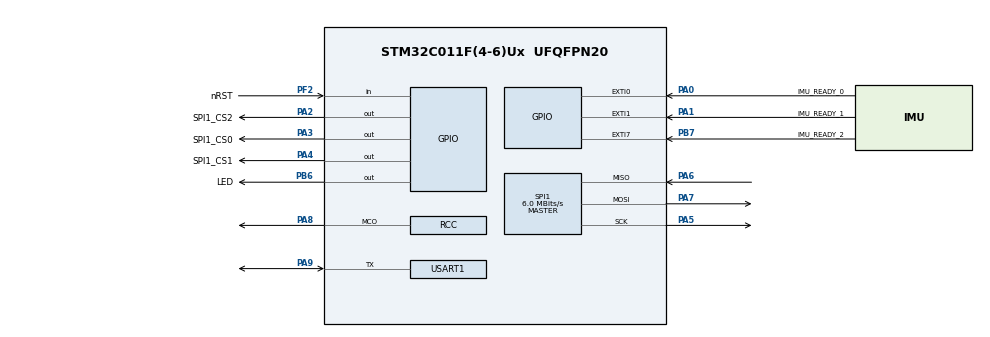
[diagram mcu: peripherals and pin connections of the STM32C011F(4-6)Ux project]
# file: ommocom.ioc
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Mcu.Family=STM32C0
Mcu.Name=STM32C011F(4-6)Ux
Mcu.Package=UFQFPN20
NVIC.EXTI0_1_IRQn=true\:0\:0\:false\:false\:true\:true\:true\:true
NVIC.EXTI4_15_IRQn=true\:0\:0\:false\:false\:true\:true\:true\:true
NVIC.SPI1_IRQn=true\:0\:0\:false\:false\:true\:true\:true\:true
NVIC.TIM17_IRQn=true\:0\:0\:false\:false\:true\:true\:true\:true
NVIC.TIM1_BRK_UP_TRG_COM_IRQn=true\:0\:0\:false\:false\:true\:true\:true\:true
NVIC.USART1_IRQn=true\:0\:0\:false\:false\:true\:true\:true\:true
PA0.GPIO_Label=IMU_READY_0
PA0.Signal=GPXTI0
PA1.GPIO_Label=IMU_READY_1
PA1.Signal=GPXTI1
PA13.Mode=Serial_Wire
PA13.Signal=DEBUG_SWDIO
PA14-BOOT0.Mode=Serial_Wire
PA14-BOOT0.Signal=DEBUG_SWCLK
PA2.GPIO_Label=SPI1_CS2
PA2.GPIO_Speed=GPIO_SPEED_FREQ_VERY_HIGH
PA2.PinState=GPIO_PIN_SET
PA2.Signal=GPIO_Output
PA3.GPIO_Label=SPI1_CS0
PA3.GPIO_ModeDefaultOutputPP=GPIO_MODE_OUTPUT_PP
PA3.GPIO_PuPd=GPIO_NOPULL
PA3.GPIO_Speed=GPIO_SPEED_FREQ_VERY_HIGH
PA3.PinState=GPIO_PIN_SET
PA3.Signal=GPIO_Output
PA4.GPIO_Label=SPI1_CS1
PA4.GPIO_PuPd=GPIO_NOPULL
PA4.GPIO_Speed=GPIO_SPEED_FREQ_VERY_HIGH
PA4.PinState=GPIO_PIN_SET
PA4.Signal=GPIO_Output
PA5.GPIO_Speed=GPIO_SPEED_FREQ_VERY_HIGH
PA5.Mode=Full_Duplex_Master
PA5.Signal=SPI1_SCK
PA6.GPIO_Speed=GPIO_SPEED_FREQ_VERY_HIGH
PA6.Mode=Full_Duplex_Master
PA6.Signal=SPI1_MISO
PA7.GPIO_Speed=GPIO_SPEED_FREQ_VERY_HIGH
PA7.Mode=Full_Duplex_Master
PA7.Signal=SPI1_MOSI
PA8.GPIO_Speed=GPIO_SPEED_FREQ_LOW
PA8.Mode=Clock-out
PA8.Signal=RCC_MCO
PA9\ [PA11].GPIO_FMPA9=SYSCFG_FASTMODEPLUS_PA9
PA9\ [PA11].GPIO_PuPd=GPIO_NOPULL
PA9\ [PA11].GPIO_Speed=GPIO_SPEED_FREQ_HIGH
PA9\ [PA11].Mode=Half_duplex(single_wire_mode)
PA9\ [PA11].Signal=USART1_TX
PB6.GPIO_Label=LED
PB6.GPIO_Speed=GPIO_SPEED_FREQ_VERY_HIGH
PB6.PinState=GPIO_PIN_RESET
PB6.Signal=GPIO_Output
PB7.GPIO_Label=IMU_READY_2
PB7.Signal=GPXTI7
PC14-OSCX_IN\ (PC14).Mode=HSE-External-Oscillator-REMAPPED
PC14-OSCX_IN\ (PC14).Signal=RCC_OSCX_IN
PC15-OSCX_OUT\ (PC15).Mode=HSE-External-Oscillator-REMAPPED
PC15-OSCX_OUT\ (PC15).Signal=RCC_OSCX_OUT
PF2-NRST.GPIO_Label=nRST
PF2-NRST.Signal=GPIO_Input
ProjectManager.HeapSize=0x200
ProjectManager.StackSize=0x400
ProjectManager.TargetToolchain=MDK-ARM V5.32
RCC.ADCFreq_Value=48000000
RCC.AHBFreq_Value=48000000
RCC.CortexFreq_Value=48000000
RCC.EXTERNAL_CLOCK_VALUE=12288000
RCC.HCLKFreq_Value=48000000
RCC.HSE_VALUE=48000000
RCC.HSISYSCLKDivider=RCC_HSI_DIV1
RCC.HSI_VALUE=48000000
RCC.LSE_VALUE=32768
RCC.SYSCLKFreq_VALUE=48000000
SPI1.BaudRatePrescaler=SPI_BAUDRATEPRESCALER_8
SPI1.CalculateBaudRate=6.0 MBits/s
SPI1.Direction=SPI_DIRECTION_2LINES
SPI1.Mode=SPI_MODE_MASTER
SPI1.VirtualType=VM_MASTER
TIM1.Period=9
TIM1.Prescaler=4799
TIM17.Prescaler=47
USART1.BaudRate=1000000
USART1.VirtualMode-Half_duplex(single_wire_mode)=VM_ASYNC
VP_CRC_VS_CRC.Mode=CRC_Activate
VP_SYS_VS_PINREMAP.Mode=PINREMAP
VP_SYS_VS_PINREMAP_10_12.Mode=PINREMAP_10_12
VP_TIM17_VS_ClockSourceINT.Mode=Enable_Timer
VP_TIM1_VS_ClockSourceINT.Mode=Internal
board=STM32C0116-DK

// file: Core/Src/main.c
/* USER CODE BEGIN Header */
/**
  ******************************************************************************
  * @file           : main.c
  * @brief          : Main program body
  ******************************************************************************
  * @attention

  ******************************************************************************
  */
/* USER CODE END Header */
#include "main.h"
#include "crc.h"
#include "spi.h"
#include "tim.h"
#include "usart.h"
#include "gpio.h"

/* USER CODE BEGIN Includes */
#include <stdio.h>
#include "string.h"
#include "spi.h"

#include "stm32c0xx_hal_flash.h"

/* USER CODE END Includes */

/* USER CODE BEGIN PTD */

#define LOCALSLAVEADDR  1
uint8_t islaveaddrin=0;

uint8_t slavecmd[TXDATALEN]={0};

//#define DATA_MMC0_POINT  4
//#define DATA_MMC1_POINT  11
//#define DATA_ICM0_POINT  18
//#define DATA_TIME_POINT  30

#define DATA_MMC0_POINT  5
#define DATA_MMC1_POINT  12
#define DATA_ICM0_POINT  19
#define DATA_TIME_POINT  31

uint32_t idataoff =0;
uint32_t irestlen =0;

#define TOTAL_FLASHDATA_SIZE  2048  //39
uint32_t icrctempdata[TOTAL_FLASHDATA_SIZE/4+1]={0};

uint8_t FLASHTEMPDATA[TOTAL_FLASHDATA_SIZE]= {0};
uint32_t ialldatalen=0;

/* USER CODE END PTD */

/* USER CODE BEGIN PM */

uint32_t  immc0_ctrl_0=0;
uint32_t  immc1_ctrl_0=0;

//---MMC5983---

#define MMC5983_XOUT_REG            0x00
#define MMC5983_TOUT_REG            0x07
#define MMC5983_STATUS_REG          0x08
#define MMC5983_CONTROL0_REG        0x09
#define MMC5983_CONTROL1_REG        0x0A
#define MMC5983_CONTROL2_REG        0x0B
#define MMC5983_CONTROL3_REG        0x0C
#define MMC5983_PRODUCT_ID_REG      0x2F

#define MMC5983_PRODUCT_ID_RESULT   0x30

#define MMC5983_MYSTERY_REG 0x29
#define MMC5983_MYSTERY_TC_DISABLE 0x01
#define MMC5983_UNLOCK_REG 0x0F
#define MMC5983_UNLOCK_VAL 0xE1

//MEMSIC values
#define MMC5983_CONTROL0_MAG_MEAS   0x01
#define MMC5983_CONTROL0_TEMP_MEAS  0x02
#define MMC5983_CONTROL0_INT_EN     0x04
#define MMC5983_CONTROL0_SET        0x08
#define MMC5983_CONTROL0_RESET      0x10
#define MMC5983_CONTROL0_AUTOSREN   0x20   //add

#define MMC5983_CONTROL0_INIT       0x00
#define MMC5983_CONTROL0_START_TEMP_CMD  (MMC5983_CONTROL0_TEMP_MEAS | MMC5983_CONTROL0_RESET)
#define MMC5983_CONTROL0_START_CMD  (MMC5983_CONTROL0_MAG_MEAS)

#ifdef OMMO_SENSOR_MEMSIC_MMC5983_SET
  #define MMC5983_CONTROL0_SET_CMD    (MMC5983_CONTROL0_SET)
#else
  #define MMC5983_CONTROL0_SET_CMD    (MMC5983_CONTROL0_RESET) //RESET will invert the axis making them right handed
#endif

#define MMC5983_CONTROL1_CHIP_RESET 0x80
#define MMC5983_CONTROL1_BW_100     0x00
#define MMC5983_CONTROL1_BW_200     0x01
#define MMC5983_CONTROL1_BW_400     0x02
#define MMC5983_CONTROL1_BW_800     0x03
#define MMC5983_CONTROL1_INIT       MMC5983_CONTROL1_BW_8

#define MMC5983_CONTROL2_CM_FREQ_1000  0X07    //add
#define MMC5983_CONTROL2_CMM_EN        0X08    //add

//---ICM42605---
// Bank 0
#define ICM_DEVICE_ID                          0x42

#define ICM42605_DEVICE_CONFIG_REG             0x11
#define ICM42605_INT_CONFIG_REG                0x14
#define ICM42605_ACCEL_DATA_X1_REG             0x1F

#define ICM42605_INT_STATUS_REG                0x2D

#define ICM42605_PWR_MGMT0_REG                 0x4E
#define ICM42605_GYRO_CONFIG0_REG              0x4F
#define ICM42605_ACCEL_CONFIG0_REG             0x50
#define ICM42605_GYRO_CONFIG1_REG              0x51

#define ICM42605_INT_CONFIG1_REG               0x64
#define ICM42605_INT_SOURCE0_REG               0x65
#define ICM42605_WHO_AM_I_REG                  0x75

#define ICM42605_REG_BANK_SEL_REG              0x76

// Bank 4
#define ICM42605_APEX_CONFIG5_REG              0x44

/* USER CODE END PM */

/* USER CODE BEGIN PV */

//-------------dataflash-------------

#define ADDR_FLASH_PAGE_0     ((uint32_t)0x08000000) /* Base @ of Page 0, 2 Kbytes */
#define ADDR_FLASH_PAGE_1     ((uint32_t)0x08000800) /* Base @ of Page 1, 2 Kbytes */
#define ADDR_FLASH_PAGE_2     ((uint32_t)0x08001000) /* Base @ of Page 2, 2 Kbytes */
#define ADDR_FLASH_PAGE_3     ((uint32_t)0x08001800) /* Base @ of Page 3, 2 Kbytes */
#define ADDR_FLASH_PAGE_4     ((uint32_t)0x08002000) /* Base @ of Page 4, 2 Kbytes */
#define ADDR_FLASH_PAGE_5     ((uint32_t)0x08002800) /* Base @ of Page 5, 2 Kbytes */
#define ADDR_FLASH_PAGE_6     ((uint32_t)0x08003000) /* Base @ of Page 6, 2 Kbytes */
#define ADDR_FLASH_PAGE_7     ((uint32_t)0x08003800) /* Base @ of Page 7, 2 Kbytes */
#define ADDR_FLASH_PAGE_8     ((uint32_t)0x08004000) /* Base @ of Page 8, 2 Kbytes */
#define ADDR_FLASH_PAGE_9     ((uint32_t)0x08004800) /* Base @ of Page 9, 2 Kbytes */
#define ADDR_FLASH_PAGE_10    ((uint32_t)0x08005000) /* Base @ of Page 10, 2 Kbytes */
#define ADDR_FLASH_PAGE_11    ((uint32_t)0x08005800) /* Base @ of Page 11, 2 Kbytes */
#define ADDR_FLASH_PAGE_12    ((uint32_t)0x08006000) /* Base @ of Page 12, 2 Kbytes */
#define ADDR_FLASH_PAGE_13    ((uint32_t)0x08006800) /* Base @ of Page 13, 2 Kbytes */
#define ADDR_FLASH_PAGE_14    ((uint32_t)0x08007000) /* Base @ of Page 14, 2 Kbytes */
#define ADDR_FLASH_PAGE_15    ((uint32_t)0x08007800) /* Base @ of Page 15, 2 Kbytes */
#define ADDR_FLASH_PAGE_16    ((uint32_t)0x08008000)

#define DATA_64                 ((uint64_t)0x12345678aa345678)

#define FLASH_BASE_ADDR          ((uint32_t)0x08000000)
#define FLASH_PAGESIZE           ((uint32_t)0x800)           //2K

#define FLASH_START_PAGE         15
#define FLASH_START_ADDR    ( (uint32_t)(FLASH_BASE_ADDR + FLASH_START_PAGE * FLASH_PAGESIZE) )

static FLASH_EraseInitTypeDef EraseInitStruct;
uint32_t iflashaddr = 0;
uint32_t PageError = 0;

/* USER CODE END PV */

void SystemClock_Config(void);

/* USER CODE BEGIN 0 */

void delay_nop(uint32_t nCount)
{
   for(; nCount != 0; nCount--)
   {
      __NOP();
   }
}

void iputs1(char *msg)
{
   while(*msg)
   Send_Data_To_UART1(*msg++);
}

void iputbytes1(uint8_t *msg, uint32_t ilen)
{
   while(ilen--)
   Send_Data_To_UART1(*msg++);
}

void Send_Data_To_UART1 (uint8_t c)
{
   USART1->TDR = c;
   while( (USART1-> ISR & (1<<7) ) ==0 );
}

uint8_t get_checksum_8(uint8_t *ival, uint32_t inum)
{
   uint32_t i =0;
   uint8_t iret =0;
   uint16_t isum =0;

   for (i=0; i<inum; i++)
   {
      isum += ival[i];
   }

   iret = (uint8_t)(isum & 0xff);

   return iret;
}

uint8_t SPI_transfer(uint8_t data)
{
   // transmit
	LL_SPI_TransmitData8(MMC_SPI, data);
	while(!LL_SPI_IsActiveFlag_TXE(MMC_SPI));

   // receive
	while(!LL_SPI_IsActiveFlag_RXNE(MMC_SPI));
	return LL_SPI_ReceiveData8(MMC_SPI);

}

//---------------------mmc0 module---------------------------

uint8_t mmc0_read_byte(uint8_t addr)
{
   uint8_t value;

   LL_GPIO_ResetOutputPin((GPIO_TypeDef *)GPIOA, LL_GPIO_PIN_3);

   SPI_transfer(0x80|addr );
   value  = SPI_transfer(0x00);

   LL_GPIO_SetOutputPin((GPIO_TypeDef *)GPIOA, LL_GPIO_PIN_3);

   return value;
}

void mmc0_write_byte(uint8_t addr,  uint8_t value)
{

   LL_GPIO_ResetOutputPin((GPIO_TypeDef *)GPIOA, LL_GPIO_PIN_3);

   SPI_transfer(addr);
   SPI_transfer(value);

   LL_GPIO_SetOutputPin((GPIO_TypeDef *)GPIOA, LL_GPIO_PIN_3);

}

void mmc0_read_bytes(uint8_t addr ,uint8_t length ,uint8_t *buffer)
{
   for(int index = 0; index < length; index++)
   {
       buffer[index]  = mmc0_read_byte(addr+index);
   }

}

void mmc0_readfromspi( uint8_t iaddr, uint8_t ilen, uint8_t *idata)
{

   LL_GPIO_ResetOutputPin((GPIO_TypeDef *)GPIOA, LL_GPIO_PIN_3);

   SPI_transfer(0x80 |iaddr);

   while(ilen--)
   {
       *idata  = SPI_transfer(0x00);
       idata++;
   }

   LL_GPIO_SetOutputPin((GPIO_TypeDef *)GPIOA, LL_GPIO_PIN_3);

}

void mmc0_init(void)
{
   uint8_t ivalue=0;

   //check device id
   ivalue = mmc0_read_byte(MMC5983_PRODUCT_ID_REG);  //read id
   if(ivalue == MMC5983_PRODUCT_ID_RESULT)  //device id
   {
      //iputs1("mmc0 ok");
      //flg_mmc0_ready=1;

      //unfrozen test
      mmc0_write_byte(MMC5983_CONTROL0_REG,MMC5983_CONTROL0_AUTOSREN|MMC5983_CONTROL0_INT_EN);      //auto ser/reset, enable interrupt
      mmc0_write_byte(MMC5983_CONTROL2_REG,MMC5983_CONTROL2_CM_FREQ_1000| MMC5983_CONTROL2_CMM_EN); //1000Hz, continuous mode
      LL_mDelay(1);
      mmc0_write_byte(MMC5983_CONTROL0_REG,MMC5983_CONTROL0_INIT);   //0
      immc0_ctrl_0=MMC5983_CONTROL0_INIT;
      mmc0_write_byte(MMC5983_CONTROL2_REG, 0x00);

      //reset
      mmc0_write_byte(MMC5983_CONTROL1_REG,MMC5983_CONTROL1_CHIP_RESET);  //reset
      LL_mDelay(20);

      //set control 0
      mmc0_write_byte(MMC5983_CONTROL0_REG,MMC5983_CONTROL0_INIT);   //0
      immc0_ctrl_0=MMC5983_CONTROL0_INIT;

      //set control 1
      mmc0_write_byte(MMC5983_CONTROL1_REG,MMC5983_CONTROL1_BW_800);    //800Hz

   }
   else
   {
       //flg_mmc0_ready=0;
       //iputs1("mmc0 err");
   }

}

void mmc0_read_data(uint8_t *sdata, uint8_t ilen)
{
   static uint32_t ireadcount = 0;

   //start sample
   mmc0_write_byte(MMC5983_CONTROL0_REG, immc0_ctrl_0 & 0x7f);

   mmc0_write_byte(MMC5983_CONTROL0_REG, MMC5983_CONTROL0_MAG_MEAS);    //sample

   //read data
   mmc0_readfromspi(MMC5983_XOUT_REG, ilen, sdata);

   //set/reset + Temp command
   if (ireadcount>=1000)
   {
      ireadcount =0;

      mmc0_write_byte(MMC5983_CONTROL0_REG, immc0_ctrl_0 & 0x7f);
      mmc0_write_byte(MMC5983_CONTROL0_REG, MMC5983_CONTROL0_TEMP_MEAS | MMC5983_CONTROL0_RESET );
      mmc0_write_byte(MMC5983_CONTROL1_REG, MMC5983_CONTROL1_BW_800);    //800Hz

   }
}

//---------------------mmc0 module----end-----------------------

//---------------------mmc1 module---------------------------

uint8_t mmc1_read_byte(uint8_t addr)
{
   uint8_t value;

   LL_GPIO_ResetOutputPin((GPIO_TypeDef *)GPIOA, LL_GPIO_PIN_4);

   SPI_transfer(0x80|addr );
   value  = SPI_transfer(0x00);

   LL_GPIO_SetOutputPin((GPIO_TypeDef *)GPIOA, LL_GPIO_PIN_4);

   return value;
}

void mmc1_write_byte(uint8_t addr,  uint8_t value)
{
   LL_GPIO_ResetOutputPin((GPIO_TypeDef *)GPIOA, LL_GPIO_PIN_4);

   SPI_transfer(addr);
   SPI_transfer(value);

   LL_GPIO_SetOutputPin((GPIO_TypeDef *)GPIOA, LL_GPIO_PIN_4);
}

void mmc1_read_bytes(uint8_t addr ,uint8_t length ,uint8_t *buffer)
{
   //read data
   for(int index = 0; index < length; index++)
   {
      buffer[index]  = mmc1_read_byte(addr+index);
   }

}

void mmc1_readfromspi( uint8_t iaddr, uint8_t ilen, uint8_t *idata)
{
   LL_GPIO_ResetOutputPin((GPIO_TypeDef *)GPIOA, LL_GPIO_PIN_4);

   SPI_transfer(0x80 |iaddr);

   while(ilen--)
   {
      *idata  = SPI_transfer(0x00);
      idata++;
   }

   LL_GPIO_SetOutputPin((GPIO_TypeDef *)GPIOA, LL_GPIO_PIN_4);
}

void mmc1_init(void)
{
   uint8_t ivalue=0;

   //check device id
   ivalue = mmc1_read_byte(MMC5983_PRODUCT_ID_REG);  //read id
   if(ivalue == MMC5983_PRODUCT_ID_RESULT)  //device id
   {
      //iputs1("mmc1 ok");
      //flg_mmc1_ready=1;

      //unfrozen  test
      mmc1_write_byte(MMC5983_CONTROL0_REG,MMC5983_CONTROL0_AUTOSREN|MMC5983_CONTROL0_INT_EN);      //auto ser/reset, enable interrupt
      mmc1_write_byte(MMC5983_CONTROL2_REG,MMC5983_CONTROL2_CM_FREQ_1000| MMC5983_CONTROL2_CMM_EN); //1000Hz, continuous mode
      LL_mDelay(1);
      mmc1_write_byte(MMC5983_CONTROL0_REG,MMC5983_CONTROL0_INIT);   //0
      immc1_ctrl_0=MMC5983_CONTROL0_INIT;
      mmc1_write_byte(MMC5983_CONTROL2_REG,0x00);

      //reset
      mmc1_write_byte(MMC5983_CONTROL1_REG,MMC5983_CONTROL1_CHIP_RESET);  //reset
      LL_mDelay(20);

      //set control 0
      mmc1_write_byte(MMC5983_CONTROL0_REG,MMC5983_CONTROL0_INIT);   //0
      immc1_ctrl_0	= MMC5983_CONTROL0_INIT;

      //set control 1
      mmc1_write_byte(MMC5983_CONTROL1_REG,MMC5983_CONTROL1_BW_800);    //800Hz

   }
   else
   {
      //flg_mmc1_ready=0;
      //iputs1("mmc1 err");
   }

}

void mmc1_read_data(uint8_t *sdata, uint8_t ilen)
{
   static uint32_t ireadcount = 0;

   //start sample
   mmc1_write_byte(MMC5983_CONTROL0_REG, immc1_ctrl_0 & 0x7f);
   mmc1_write_byte(MMC5983_CONTROL0_REG, MMC5983_CONTROL0_MAG_MEAS);    //sample

   //read data
   mmc1_readfromspi(MMC5983_XOUT_REG, ilen, sdata);

   //set/reset + Temp command
   if (ireadcount>=1000)
   {
      ireadcount =0;
      mmc1_write_byte(MMC5983_CONTROL0_REG, immc1_ctrl_0 & 0x7f);
      mmc1_write_byte(MMC5983_CONTROL0_REG, MMC5983_CONTROL0_TEMP_MEAS | MMC5983_CONTROL0_RESET );
      mmc1_write_byte(MMC5983_CONTROL1_REG, MMC5983_CONTROL1_BW_800);    //800Hz
   }

}

//---------------------mmc1 module----end-----------------------

//---------------------icm0 module---------------------------

uint8_t icm0_read_byte(uint8_t addr)
{
   uint8_t value;

   LL_GPIO_ResetOutputPin((GPIO_TypeDef *)GPIOA, LL_GPIO_PIN_2);

   SPI_transfer(0x80|addr );
   value  = SPI_transfer(0x00);

   LL_GPIO_SetOutputPin((GPIO_TypeDef *)GPIOA, LL_GPIO_PIN_2);

   return value;
}

void icm0_write_byte(uint8_t addr,  uint8_t value)
{
   LL_GPIO_ResetOutputPin((GPIO_TypeDef *)GPIOA, LL_GPIO_PIN_2);

   SPI_transfer(addr);
   SPI_transfer(value);

   LL_GPIO_SetOutputPin((GPIO_TypeDef *)GPIOA, LL_GPIO_PIN_2);
}

void icm0_read_bytes(uint8_t addr ,uint8_t length ,uint8_t *buffer)
{
   //read data
   for(int index = 0; index < length; index++)
   {
      buffer[index]  = icm0_read_byte(addr+index);
   }

}

void icm0_readfromspi( uint8_t iaddr, uint8_t ilen, uint8_t *idata)
{
   LL_GPIO_ResetOutputPin((GPIO_TypeDef *)GPIOA, LL_GPIO_PIN_2);

   SPI_transfer(0x80 |iaddr);

   while(ilen--)
   {
      *idata  = SPI_transfer(0x00);
      idata++;
   }

   LL_GPIO_SetOutputPin((GPIO_TypeDef *)GPIOA, LL_GPIO_PIN_2);
}

void icm0_init(void)
{
   uint8_t ivalue=0;

   icm0_write_byte( ICM42605_REG_BANK_SEL_REG, 0x00);    // set bank0

   //check device id
   ivalue =icm0_read_byte(ICM42605_WHO_AM_I_REG);     //read device id
   if(ivalue == ICM_DEVICE_ID)
   {
      //flg_icm0_ready=1;
      //iputs1("icm0 ok");

      icm0_write_byte(ICM42605_DEVICE_CONFIG_REG, 0x01 );     //reset
      LL_mDelay(100);

      icm0_write_byte(ICM42605_PWR_MGMT0_REG, 0x0f);     // set GYRO and ACC in LN mode
      LL_mDelay(1);

      icm0_write_byte( ICM42605_GYRO_CONFIG0_REG, 0x06 | (3 << 5) );  //GYRO ODR 1KHz,GYRO FS 250dps
      icm0_write_byte(ICM42605_ACCEL_CONFIG0_REG, 0x06 | (3 << 5) );   //ACC ODR 1kHz, ACC FS  2g
      icm0_write_byte( ICM42605_GYRO_CONFIG1_REG, 0xD6);              //DLPF BW=5Hz; DLPF Latency=32ms, GYRO UI 2nd Order , DEC2 M2 3nd Order
      icm0_write_byte( ICM42605_INT_CONFIG_REG, 0x03);    //INT1  Push pull, Active high
      icm0_write_byte( ICM42605_INT_CONFIG1_REG, 0x00);    //proper INT1 and INT2 pin operation
      icm0_write_byte(ICM42605_INT_SOURCE0_REG, 0x09);     //UI data ready interrupt routed to INT1, UI AGC ready interrupt routed to INT1

      icm0_write_byte( ICM42605_REG_BANK_SEL_REG, 0x04);    //set bank 4
      icm0_write_byte( ICM42605_INT_SOURCE0_REG, 0x8F);    //Defines mounting matrix, chip to device frame
      icm0_write_byte( ICM42605_REG_BANK_SEL_REG, 0x00);    //set bank0

      ivalue=icm0_read_byte(0x2d);     //INT STATUS
   }
   else
   {
      //flg_icm0_ready=0;
      //iputs1("icm0 err");
   }

}

void icm0_read_data(uint8_t *sdata, uint8_t ilen)
{
   //--uint8_t ivalue=0;

   icm0_write_byte( 0x76, 0x00);    // set bank0
   //--ivalue=icm0_read_byte(0x2d);      //INT STATUS

   icm0_readfromspi(0x1f, ilen, sdata);
}

//---------------------icm0 module----end-----------------------

void uartsendcmd(uint8_t *scmd, uint32_t ilen)
{
   //switch to tx
   delay_nop(WAIT2TE_SLAVE); //delay_nop(WAIT2TE_MASTER);
   switch2send(USART1);

   //iputbytes1((uint8_t *)scmd,ilen);
   iputbytes1(scmd,ilen);

   //switch to rx
   delay_nop(WAIT2RE_SLAVE);  //delay_nop(WAIT2RE0_MASTER);
   switch2read(USART1);
}

void savetoflash(void)
{
   uint32_t icrc=0;
   uint32_t icrclen=0;
   uint32_t icrcin=0;
   uint8_t flg_flasherr=0;

   //---------------  erease the flash -----------------

   HAL_FLASH_Unlock();

   __HAL_FLASH_CLEAR_FLAG(FLASH_FLAG_OPTVERR);

   EraseInitStruct.TypeErase   = FLASH_TYPEERASE_PAGES;
   EraseInitStruct.Page        = FLASH_START_PAGE;          //15, 0800 7800
   EraseInitStruct.NbPages     = 1;                         //1 x 800

   if (HAL_FLASHEx_Erase(&EraseInitStruct, &PageError) != HAL_OK)
   {
      flg_flasherr=1;
   }

   //---------------  write buf to flash -----------------

   iflashaddr = FLASH_START_ADDR;   //0800 7800

   for(uint32_t i=0; i<ialldatalen; i+=8)
   {
      if (HAL_FLASH_Program(FLASH_TYPEPROGRAM_DOUBLEWORD, iflashaddr, *(uint64_t*)(&FLASHTEMPDATA[i]) ) == HAL_OK)
      {
         iflashaddr += 8;  //move 8 bytes
      }
      else
      {
         flg_flasherr=1;
      }
   }

   HAL_FLASH_Lock();

   if(flg_flasherr==1)
   {
      flg_flasherr=0;
      uartsendcmd( (uint8_t*)"flash err\r\n", 8);
   }

}

void dowithuart(void)
{
   uint16_t itimnum=0;
   uint32_t idatalen=0;
   uint8_t stest[20]={0};
   uint32_t icrc=0;
   uint32_t icrclen=0;
   uint32_t icrcin=0;

////   static uint8_t itestcrc=0;

   switch (irxdata2[3])   //command
   {
      case 0xA1:

////            slavecmd[0]=CMDHEADER1;    //0xAA;
////            slavecmd[1]=CMDHEADER2;    //0x55;
////            slavecmd[2]=0X1E;
////            slavecmd[3]=0xB1;
////
////            itimnum = LL_TIM_GetCounter(TIM17);
////            slavecmd[ DATA_TIME_POINT] = (uint8_t)(itimnum & 0xff);
////            slavecmd[ DATA_TIME_POINT+1] = (uint8_t)( (itimnum>>8) & 0xff );
////
////            slavecmd[32]=get_checksum_8(slavecmd,32);
////            uartsendcmd(slavecmd,33);

            slavecmd[0]=CMDHEADER1;    //0xAA;
            slavecmd[1]=CMDHEADER2;    //0x55;
            slavecmd[2]=0x1F;
            slavecmd[3]=0xB1;
            slavecmd[4]=LOCALSLAVEADDR;

            itimnum = LL_TIM_GetCounter(TIM17);
            slavecmd[ DATA_TIME_POINT] = (uint8_t)(itimnum & 0xff);
            slavecmd[ DATA_TIME_POINT+1] = (uint8_t)( (itimnum>>8) & 0xff );

            slavecmd[33]=get_checksum_8(slavecmd,33);
            uartsendcmd(slavecmd,34);

            break;

      case 0xC1:

//            slavecmd[0]=CMDHEADER1;  //0xAA;
//            slavecmd[1]=CMDHEADER2;  //0x55;
//            slavecmd[2]=0x02;
//            slavecmd[3]=0xD1;
//            slavecmd[4]=get_checksum_8(slavecmd,4);
//            uartsendcmd(slavecmd,5);

            slavecmd[0]=CMDHEADER1;  //0xAA;
            slavecmd[1]=CMDHEADER2;  //0x55;
            slavecmd[2]=0x03;
            slavecmd[3]=0xD1;
            slavecmd[4]=LOCALSLAVEADDR;
            slavecmd[5]=get_checksum_8(slavecmd,5);
            uartsendcmd(slavecmd,6);

            idataoff =0;

            break;

      case 0xC2:

            idatalen=irxdata2[2]-3;

            //if( (idataoff+idatalen) > TOTAL_FLASHDATA_SIZE)
            //   iputs1("data err\r\n");

            //save to array
            for( uint32_t i=0; i<idatalen; i++)
            {
               FLASHTEMPDATA[idataoff+i]=irxdata2[5+i];
            }

            idataoff += idatalen;

            //make step crc......

            slavecmd[0]=CMDHEADER1;  //0xAA;
            slavecmd[1]=CMDHEADER2;  //0x55;
            slavecmd[2]=0x03;
            slavecmd[3]=0xD2;
            slavecmd[4]=LOCALSLAVEADDR;
            slavecmd[5]=get_checksum_8(slavecmd,5);
            uartsendcmd(slavecmd,6);

            break;

      case 0xC3:

            ialldatalen=idataoff;

            //make crc
            icrclen=byte2uint32( (uint8_t *)FLASHTEMPDATA,icrctempdata,ialldatalen);
            icrc = stm32_crc32(icrctempdata, icrclen);

            //check crc
            icrcin+=(uint32_t)(irxdata2[5]<<24);
            icrcin+=(uint32_t)(irxdata2[6]<<16);
            icrcin+=(uint32_t)(irxdata2[7]<<8);
            icrcin+=(uint32_t)(irxdata2[8]);

////            if(itestcrc==0)    //test
////            {
////               itestcrc=1;
////               icrc+=1;
////            }

            if(icrc==icrcin)
            {
               slavecmd[0]=CMDHEADER1;  //0xAA;
               slavecmd[1]=CMDHEADER2;  //0x55;
               slavecmd[2]=0x03;
               slavecmd[3]=0xD3;
               slavecmd[4]=LOCALSLAVEADDR;
               slavecmd[5]=get_checksum_8(slavecmd,5);
               uartsendcmd(slavecmd,6);
            }
            else
            {
               slavecmd[0]=CMDHEADER1;  //0xAA;
               slavecmd[1]=CMDHEADER2;  //0x55;
               slavecmd[2]=0x03;
               slavecmd[3]=0xE3;
               slavecmd[4]=LOCALSLAVEADDR;
               slavecmd[5]=get_checksum_8(slavecmd,5);
               uartsendcmd(slavecmd,6);

               break;
            }

            //save the uart data to flash
            savetoflash();

            //read out the flash data

            memset(FLASHTEMPDATA,0,ialldatalen);

            iflashaddr = FLASH_START_ADDR;        //0800 7800

            for(uint32_t i=0; i<ialldatalen; i+=4)
              *(__IO uint32_t *)( &FLASHTEMPDATA[i] ) = *(__IO uint32_t *)(FLASH_START_ADDR+i);

            //check the flash crc
            icrclen=byte2uint32( (uint8_t *)FLASHTEMPDATA,icrctempdata,ialldatalen);
            icrc = stm32_crc32(icrctempdata, icrclen);

            if(icrc!=icrcin)
                uartsendcmd( (uint8_t*)"crc err\r\n", 9);

//---test log ---
//uartsendcmd( FLASHTEMPDATA, ialldatalen);

delay_nop(WAIT2TE_SLAVE);
switch2send(USART1);
Send_Data_To_UART1(icrc>>24);
Send_Data_To_UART1(icrc>>16);
Send_Data_To_UART1(icrc>>8);
Send_Data_To_UART1(icrc>>0);
delay_nop(WAIT2RE_SLAVE);
switch2read(USART1);

//uartsendcmd( (uint8_t*)(&icrc), 4);

            break;

      default:
            break;
   }

}

void readsensor(void)
{
   memset(slavecmd,DATA_MMC0_POINT,28);

   mmc0_read_data(slavecmd+DATA_MMC0_POINT,7);
   mmc1_read_data(slavecmd+DATA_MMC1_POINT,7);
   icm0_read_data(slavecmd+DATA_ICM0_POINT,12);
}

uint32_t byte2uint32(uint8_t *strin, uint32_t *strout, uint32_t ilen)
{

   uint32_t i = 0;
   uint32_t iret = 0;

   //get crc adder
   for ( i=0; i<(ilen/4); i++)
   {
      strout[i] = (uint32_t)((strin[4*i] << 24) | (strin[4*i+1] << 16) | (strin[4*i+ 2] << 8) | strin[4*i+3]);
   }

   //last word
   if ( (ilen%4) == 3)
      strout[i] = (uint32_t)((strin[4*i] << 24) | (strin[4*i+1] << 16) | (strin[4*i+ 2] << 8) );
   if ( (ilen%4) == 2)
      strout[i] = (uint32_t)((strin[4*i] << 24) | (strin[4*i+1] << 16) );
   if ( (ilen%4) == 1)
      strout[i] = (uint32_t)((strin[4*i] << 24) );

   //get crc len
   if( (ilen%4) ==0)
      iret =  ilen/4;
   else
      iret = ilen/4 +1;

   return iret;
}

uint32_t calcu_crc32(uint32_t *idatain, uint32_t len)
{
   uint32_t icrc_poly = 0x04C11DB7;
   uint32_t icrc_out = 0xffffffff;

   for(uint32_t i = 0; i < len; i++)
   {
      icrc_out ^= idatain[i];

      for (uint8_t j = 0; j < 32; j++)
      {
         if (icrc_out & 0x80000000)
            icrc_out = (icrc_out << 1) ^ icrc_poly;
         else
            icrc_out <<= 1;
      }
   }

   return (icrc_out);
}

uint32_t calcu_crc32ex(uint32_t *idatain, uint32_t len, uint32_t icrc_in)
{
   uint32_t icrc_poly = 0x04C11DB7;
   uint32_t icrc_out = icrc_in;

   for(uint32_t i = 0; i < len; i++)
   {
      icrc_out ^= idatain[i];

      //Send_Data_To_UART1(i);  //test

      for (uint8_t j = 0; j < 32; j++)
      {
         if (icrc_out & 0x80000000)
            icrc_out = (icrc_out << 1) ^ icrc_poly;
         else
            icrc_out <<= 1;
      }
   }

   return (icrc_out);
}

uint32_t stm32_crc32(uint32_t *idatain, uint32_t len)
{
   register uint32_t data = 0;
   register uint32_t index = 0;

   LL_CRC_SetInitialData(CRC, LL_CRC_DEFAULT_CRC_INITVALUE);

   for(uint32_t i = 0; i < len; i++)
   {
      LL_CRC_FeedData32(CRC,  idatain[i]);
   }

   return (LL_CRC_ReadData32(CRC));
}

uint32_t stm32_crc32ex(uint32_t *idatain, uint32_t len, uint32_t icrc_in)
{
   register uint32_t data = 0;
   register uint32_t index = 0;

   LL_CRC_SetInitialData(CRC, icrc_in);

   for(uint32_t i = 0; i < len; i++)
   {
      LL_CRC_FeedData32(CRC,  idatain[i]);
   }

   return (LL_CRC_ReadData32(CRC));
}

/* USER CODE END 0 */

int main(void)
{
  /* USER CODE BEGIN 1 */
   uint8_t stest[20]={0};

  /* USER CODE END 1 */

  /* MCU Configuration--------------------------------------------------------*/

  /* Reset of all peripherals, Initializes the Flash interface and the Systick. */
  LL_APB2_GRP1_EnableClock(LL_APB2_GRP1_PERIPH_SYSCFG);
  LL_APB1_GRP1_EnableClock(LL_APB1_GRP1_PERIPH_PWR);

  /* SysTick_IRQn interrupt configuration */
  NVIC_SetPriority(SysTick_IRQn, 3);

  LL_SYSCFG_EnablePinRemap(LL_SYSCFG_PIN_RMP_PA11);
  LL_SYSCFG_EnablePinRemap(LL_SYSCFG_PIN_RMP_PA12);

  /* Configure the system clock */
  SystemClock_Config();

  /* Initialize all configured peripherals */
  MX_GPIO_Init();
  MX_USART1_UART_Init();  //iputs1("start...\r\n");
  MX_TIM1_Init();
  MX_SPI1_Init();
  MX_TIM17_Init();
  MX_CRC_Init();

  /* USER CODE BEGIN 2 */

   LL_RCC_ConfigMCO(LL_RCC_MCO1SOURCE_SYSCLK, LL_RCC_MCO1_DIV_4);   //12Mhz = 48Mhz/4

   LL_mDelay(10);  //20
   uartsendcmd( (uint8_t*)"...",3);     //start

   //LL_GPIO_ResetOutputPin(LED_GPIO_Port, LED_Pin);   //--test
   //LL_mDelay(30);
   //LL_GPIO_SetOutputPin(LED_GPIO_Port, LED_Pin);

   LL_SPI_Enable(SPI1);

   //sensor init
   mmc0_init();
   mmc1_init();
   icm0_init();

  /* USER CODE END 2 */

  /* Infinite loop */
  /* USER CODE BEGIN WHILE */

   while (1)
   {
      static uint32_t iuart_rxledcount=0;
      static uint32_t isensorcount=0;
      static uint32_t iresetcount=0;
      uint8_t ichecksum=0;

    /* USER CODE END WHILE */

    /* USER CODE BEGIN 3 */

      if(flg_timer1==1)
      {
         flg_timer1=0;

         iuart_rxledcount++;
         isensorcount++;
      }

      //uart rx
      if (flg_rx==1)
      {
         flg_rx=0;
         //iputs1("rx in\r\n");

         islaveaddrin=irxdata2[4];

         //checksum
         ichecksum = get_checksum_8((uint8_t *)irxdata2,irxcount2-1);

         if(ichecksum == irxdata2[irxcount2-1])
            if(islaveaddrin==LOCALSLAVEADDR)
               dowithuart();

      }

      //read sensor data
      if(isensorcount>=1)   //1* 1ms =1ms
      {
         isensorcount=0;
         readsensor();
      }

      if(iresetcount>=1000)
      {
         iresetcount=0;

         //do control0 reset
         mmc0_write_byte(MMC5983_CONTROL0_REG, MMC5983_CONTROL0_RESET );
         mmc1_write_byte(MMC5983_CONTROL0_REG, MMC5983_CONTROL0_RESET );
      }

		if( iuart_rxledcount >=1000)
		{
			 iuart_rxledcount=0;
			 LL_GPIO_TogglePin( LED_GPIO_Port, LED_Pin);
		}

  }

  /* USER CODE END 3 */
}

void SystemClock_Config(void)
{

  LL_FLASH_SetLatency(LL_FLASH_LATENCY_1);

  /* HSI configuration and activation */
  LL_RCC_HSI_Enable();
  while(LL_RCC_HSI_IsReady() != 1)
  {
  }

  LL_RCC_HSI_SetCalibTrimming(64);
  LL_RCC_SetHSIDiv(LL_RCC_HSI_DIV_1);
  /* Set AHB prescaler*/
  LL_RCC_SetAHBPrescaler(LL_RCC_HCLK_DIV_1);

  /* Sysclk activation on the HSI */
  LL_RCC_SetSysClkSource(LL_RCC_SYS_CLKSOURCE_HSI);
  while(LL_RCC_GetSysClkSource() != LL_RCC_SYS_CLKSOURCE_STATUS_HSI)
  {
  }

  /* Set APB1 prescaler*/
  LL_RCC_SetAPB1Prescaler(LL_RCC_APB1_DIV_1);
  LL_Init1msTick(48000000);
  /* Update CMSIS variable (which can be updated also through SystemCoreClockUpdate function) */
  LL_SetSystemCoreClock(48000000);
  LL_RCC_ConfigMCO(LL_RCC_MCO1SOURCE_SYSCLK, LL_RCC_MCO1_DIV_1);
}

void Error_Handler(void)
{
   __disable_irq();
   while (1)
   {
   }
}
